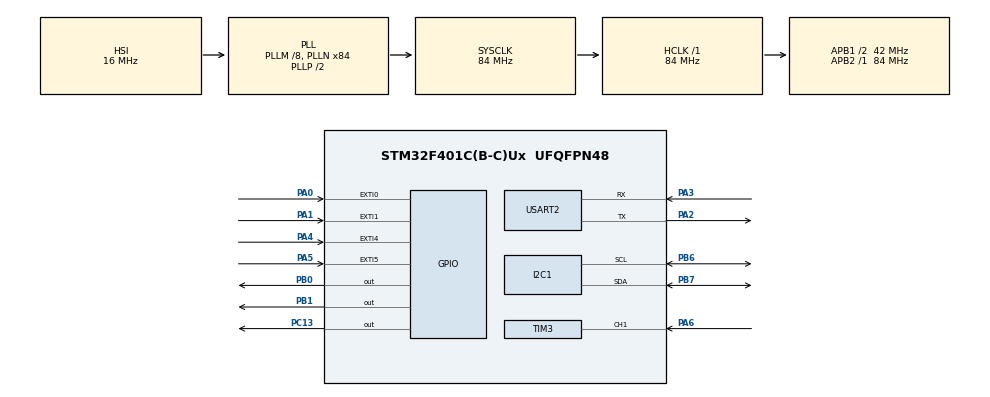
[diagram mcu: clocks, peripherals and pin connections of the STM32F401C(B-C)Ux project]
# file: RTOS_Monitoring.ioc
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FREERTOS.Mutexes01=I2CMutex,Dynamic,NULL,Available
FREERTOS.Tasks01=TaskDisplay,16,512,StartDefaultTask,Default,NULL,Dynamic,NULL,NULL;TaskSensor,40,512,StartTask02,Default,NULL,Dynamic,NULL,NULL
FREERTOS.configMINIMAL_STACK_SIZE=512
I2C1.I2C_Mode=I2C_Standard
Mcu.Family=STM32F4
Mcu.Name=STM32F401C(B-C)Ux
Mcu.Package=UFQFPN48
NVIC.EXTI0_IRQn=true\:5\:0\:false\:false\:true\:true\:true\:true\:true
NVIC.EXTI1_IRQn=true\:5\:0\:false\:false\:true\:true\:true\:true\:true
NVIC.EXTI4_IRQn=true\:5\:0\:false\:false\:true\:true\:true\:true\:true
NVIC.EXTI9_5_IRQn=true\:5\:0\:false\:false\:true\:true\:true\:true\:true
NVIC.PriorityGroup=NVIC_PRIORITYGROUP_4
NVIC.TIM1_UP_TIM10_IRQn=true\:15\:0\:false\:false\:true\:false\:false\:true\:true
NVIC.TimeBase=TIM1_UP_TIM10_IRQn
NVIC.TimeBaseIP=TIM1
PA0-WKUP.GPIO_PuPd=GPIO_PULLUP
PA0-WKUP.Signal=GPXTI0
PA1.GPIO_PuPd=GPIO_PULLUP
PA1.Signal=GPXTI1
PA13.Mode=Serial_Wire
PA13.Signal=SYS_JTMS-SWDIO
PA14.Mode=Serial_Wire
PA14.Signal=SYS_JTCK-SWCLK
PA2.Mode=Asynchronous
PA2.Signal=USART2_TX
PA3.Mode=Asynchronous
PA3.Signal=USART2_RX
PA4.GPIO_PuPd=GPIO_PULLUP
PA4.Signal=GPXTI4
PA5.GPIO_PuPd=GPIO_PULLUP
PA5.Signal=GPXTI5
PA6.Signal=S_TIM3_CH1
PB0.Signal=GPIO_Output
PB1.Signal=GPIO_Output
PB6.Mode=I2C
PB6.Signal=I2C1_SCL
PB7.Mode=I2C
PB7.Signal=I2C1_SDA
PC13-ANTI_TAMP.Signal=GPIO_Output
PH0\ -\ OSC_IN.Mode=HSE-External-Oscillator
PH0\ -\ OSC_IN.Signal=RCC_OSC_IN
PH1\ -\ OSC_OUT.Mode=HSE-External-Oscillator
PH1\ -\ OSC_OUT.Signal=RCC_OSC_OUT
ProjectManager.HeapSize=0x200
ProjectManager.StackSize=0x400
ProjectManager.TargetToolchain=STM32CubeIDE
RCC.48MHZClocksFreq_Value=42000000
RCC.AHBFreq_Value=84000000
RCC.APB1CLKDivider=RCC_HCLK_DIV2
RCC.APB1Freq_Value=42000000
RCC.APB1TimFreq_Value=84000000
RCC.APB2Freq_Value=84000000
RCC.APB2TimFreq_Value=84000000
RCC.CortexFreq_Value=84000000
RCC.HCLKFreq_Value=84000000
RCC.HSE_VALUE=25000000
RCC.HSI_VALUE=16000000
RCC.LSE_VALUE=32768
RCC.PLLM=8
RCC.PLLN=84
RCC.SYSCLKFreq_VALUE=84000000
RCC.SYSCLKSource=RCC_SYSCLKSOURCE_PLLCLK
RCC.VCOOutputFreq_Value=168000000
SH.S_TIM3_CH1.0=TIM3_CH1,Input_Capture1_from_TI1
TIM3.Channel-Input_Capture1_from_TI1=TIM_CHANNEL_1
USART2.VirtualMode=VM_ASYNC
VP_FREERTOS_VS_CMSIS_V2.Mode=CMSIS_V2
VP_SYS_VS_tim1.Mode=TIM1
board=custom

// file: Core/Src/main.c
/* USER CODE BEGIN Header */
/**
  ******************************************************************************
  * @file           : main.c
  * @brief          : Main program body
  ******************************************************************************
  * @attention
  *
  * Copyright (c) 2026 STMicroelectronics.
  * All rights reserved.
  *
  * This software is licensed under terms that can be found in the LICENSE file
  * in the root directory of this software component.
  * If no LICENSE file comes with this software, it is provided AS-IS.
  *
  ******************************************************************************
  */
/* USER CODE END Header */
#include "main.h"
#include "cmsis_os.h"
#include "i2c.h"
#include "tim.h"
#include "usart.h"
#include "gpio.h"

void SystemClock_Config(void);
void MX_FREERTOS_Init(void);

int main(void)
{

  /* MCU Configuration--------------------------------------------------------*/

  /* Reset of all peripherals, Initializes the Flash interface and the Systick. */
  HAL_Init();

  /* Configure the system clock */
  SystemClock_Config();

  /* Initialize all configured peripherals */
  MX_GPIO_Init();
  MX_I2C1_Init();
  MX_TIM3_Init();
  MX_USART2_UART_Init();

  /* Init scheduler */
  osKernelInitialize();  /* Call init function for freertos objects (in cmsis_os2.c) */
  MX_FREERTOS_Init();

  /* Start scheduler */
  osKernelStart();

  /* We should never get here as control is now taken by the scheduler */

  /* Infinite loop */
  /* USER CODE BEGIN WHILE */
  while (1)
  {
	  GPIO_TypeDef* ports[] = {GPIOC, GPIOB, GPIOA};
	  uint16_t pins[] = {GPIO_PIN_13, GPIO_PIN_12, GPIO_PIN_1};
	  for(int i=0; i<3; i++) {
	  	HAL_GPIO_WritePin(ports[i], pins[i], GPIO_PIN_RESET); // AN
	  	HAL_Delay(200);
	  	HAL_GPIO_WritePin(ports[i], pins[i], GPIO_PIN_SET); // AUS
	  }
    /* USER CODE END WHILE */

  }
}

void SystemClock_Config(void)
{
  RCC_OscInitTypeDef RCC_OscInitStruct = {0};
  RCC_ClkInitTypeDef RCC_ClkInitStruct = {0};

  /** Configure the main internal regulator output voltage
  */
  __HAL_RCC_PWR_CLK_ENABLE();
  __HAL_PWR_VOLTAGESCALING_CONFIG(PWR_REGULATOR_VOLTAGE_SCALE2);

  /** Initializes the RCC Oscillators according to the specified parameters
  * in the RCC_OscInitTypeDef structure.
  */
  RCC_OscInitStruct.OscillatorType = RCC_OSCILLATORTYPE_HSI;
  RCC_OscInitStruct.HSIState = RCC_HSI_ON;
  RCC_OscInitStruct.HSICalibrationValue = RCC_HSICALIBRATION_DEFAULT;
  RCC_OscInitStruct.PLL.PLLState = RCC_PLL_ON;
  RCC_OscInitStruct.PLL.PLLSource = RCC_PLLSOURCE_HSI;
  RCC_OscInitStruct.PLL.PLLM = 8;
  RCC_OscInitStruct.PLL.PLLN = 84;
  RCC_OscInitStruct.PLL.PLLP = RCC_PLLP_DIV2;
  RCC_OscInitStruct.PLL.PLLQ = 4;
  if (HAL_RCC_OscConfig(&RCC_OscInitStruct) != HAL_OK)
  {
    Error_Handler();
  }

  /** Initializes the CPU, AHB and APB buses clocks
  */
  RCC_ClkInitStruct.ClockType = RCC_CLOCKTYPE_HCLK|RCC_CLOCKTYPE_SYSCLK
                              |RCC_CLOCKTYPE_PCLK1|RCC_CLOCKTYPE_PCLK2;
  RCC_ClkInitStruct.SYSCLKSource = RCC_SYSCLKSOURCE_PLLCLK;
  RCC_ClkInitStruct.AHBCLKDivider = RCC_SYSCLK_DIV1;
  RCC_ClkInitStruct.APB1CLKDivider = RCC_HCLK_DIV2;
  RCC_ClkInitStruct.APB2CLKDivider = RCC_HCLK_DIV1;

  if (HAL_RCC_ClockConfig(&RCC_ClkInitStruct, FLASH_LATENCY_2) != HAL_OK)
  {
    Error_Handler();
  }
}

void HAL_TIM_PeriodElapsedCallback(TIM_HandleTypeDef *htim)
{
  if (htim->Instance == TIM1)
  {
    HAL_IncTick();
  }
}

void Error_Handler(void)
{
  __disable_irq();
  while (1)
  {
  }
}

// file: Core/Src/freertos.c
/* USER CODE BEGIN Header */
/**
  ******************************************************************************
  * File Name          : freertos.c
  * Description        : Code for freertos applications
  ******************************************************************************
  * @attention
  *
  * Copyright (c) 2026 STMicroelectronics.
  * All rights reserved.
  *
  * This software is licensed under terms that can be found in the LICENSE file
  * in the root directory of this software component.
  * If no LICENSE file comes with this software, it is provided AS-IS.
  *
  ******************************************************************************
  */
/* USER CODE END Header */

#include "FreeRTOS.h"
#include "task.h"
#include "main.h"
#include "cmsis_os.h"

/* USER CODE BEGIN Includes */
#include "i2c.h"
#include "ssd1306.h"
#include "ssd1306_fonts.h"
#include <stdio.h>
#include "bme280.h"
#include <stdlib.h>
#include "settings.h"
#include "flash_mem.h"
/* USER CODE END Includes */

/* USER CODE BEGIN Variables */

typedef struct {
	float temp;
	float hum;
	uint16_t press_hpa;
	int16_t accelX;
	int16_t accelY;
	int16_t accelZ;
	uint8_t alarm_active; // 0 = Alles OK, 1 = ALARM!
}SensorData_t;

typedef struct {
	uint32_t last_activity_tick;// Für 10s Timeout
	float temp_alarm_limit; // z. B. 30.0 °C
	uint16_t vib_alarm_limit; // z. B. 5000 LSB
	uint8_t mpu_range_g[4]; // 2, 4 oder 8
	uint8_t mpu_range_index;
	uint8_t menu_cursor; // Aktuell gewählter Menüpunkt (0 bis MENU_ITEM_COUNT-1)
	uint8_t current_page;
	uint8_t flag;
	UIState_t ui_state;
}SystemData_t;

typedef struct {
	uint16_t magic_key;
	SystemData_t data;
}EEPROM_Layout_t;

SensorData_t g_sensor_data;
SystemData_t g_system_data;

uint8_t vibration_history[128]= {0};
uint8_t history_index= 0;

/* USER CODE END Variables */
/* Definitions for TaskDisplay */
osThreadId_t TaskDisplayHandle;
const osThreadAttr_t TaskDisplay_attributes = {
  .name = "TaskDisplay",
  .stack_size = 512 * 4,
  .priority = (osPriority_t) osPriorityBelowNormal,
};
/* Definitions for TaskSensor */
osThreadId_t TaskSensorHandle;
const osThreadAttr_t TaskSensor_attributes = {
  .name = "TaskSensor",
  .stack_size = 512 * 4,
  .priority = (osPriority_t) osPriorityHigh,
};
/* Definitions for I2CMutex */
osMutexId_t I2CMutexHandle;
const osMutexAttr_t I2CMutex_attributes = {
  .name = "I2CMutex"
};

/* USER CODE BEGIN FunctionPrototypes */

void MPU6050_SetFullScaleRange(uint8_t mpu_range_g){
	uint8_t range_addr;
	if(mpu_range_g== 2) range_addr= 0x00;
	if(mpu_range_g== 4) range_addr= 0x08;
	if(mpu_range_g== 8) range_addr= 0x10;
	if(mpu_range_g== 16) range_addr= 0x18;
	HAL_I2C_Mem_Write(&hi2c1, (0x68 << 1), 0x1C, I2C_MEMADD_SIZE_8BIT, &range_addr, 1, 100);
}

void HAL_GPIO_EXTI_Callback(uint16_t GPIO_Pin)
{
	uint32_t now = HAL_GetTick();
	static uint32_t last_press = 0;

	if (now - last_press < 200) return;
	last_press = now;

	// Aktivität registrieren (Timer zurücksetzen)
	g_system_data.last_activity_tick = now;

	// === TASTE 1 (Menü öffnen / Runter) ===
	if (GPIO_Pin == GPIO_PIN_0)
	{
	    if (g_system_data.ui_state == UI_STATE_MAIN_PAGES) {
	        // Aus der Hauptansicht ins Menü wechseln
	        g_system_data.ui_state = UI_STATE_MENU_MAIN;
	        g_system_data.menu_cursor = 0;
	    }
	    else if (g_system_data.ui_state == UI_STATE_MENU_MAIN) {
	        // Im Menü nach unten navigieren
	        g_system_data.menu_cursor = (g_system_data.menu_cursor + 1) % MENU_ITEM_COUNT;
	    }
	    else if (g_system_data.ui_state == UI_STATE_MENU_EDIT) {
	        // Wert verringern
	        if (g_system_data.menu_cursor == MENU_ITEM_TEMP_ALARM){
	        	if(g_system_data.temp_alarm_limit > 0.0f){
	        		g_system_data.temp_alarm_limit -= 1.0f;
	        	}
	        }
	        else if (g_system_data.menu_cursor == MENU_ITEM_VIB_ALARM){
	        	if(g_system_data.vib_alarm_limit > 500){
	        		g_system_data.vib_alarm_limit -= 500;
	        	}
	        	else{
	        		g_system_data.vib_alarm_limit = 3000;
	        	}
	        }
	        else if (g_system_data.menu_cursor == MENU_ITEM_MPU_RANGE){
	        	if(g_system_data.mpu_range_index > 0){
	        		g_system_data.mpu_range_index -= 1;
	        	}
	        	else{
	        		g_system_data.mpu_range_index = 3;
	        	}
	        }
	    }
	}

	// === TASTE 2 (Hoch) ===
	else if (GPIO_Pin == GPIO_PIN_1)
	{
	    if (g_system_data.ui_state == UI_STATE_MENU_MAIN) {
	        // Im Menü nach oben navigieren
	        if (g_system_data.menu_cursor == 0) g_system_data.menu_cursor = MENU_ITEM_COUNT - 1;
	        else g_system_data.menu_cursor--;
	    }
	    else if (g_system_data.ui_state == UI_STATE_MENU_EDIT) {
	        // Wert erhöhen
	        if (g_system_data.menu_cursor == MENU_ITEM_TEMP_ALARM){
	        	if(g_system_data.temp_alarm_limit <= 60.0f)
	        	g_system_data.temp_alarm_limit += 1.0f;
	        }
	        else if (g_system_data.menu_cursor == MENU_ITEM_VIB_ALARM){
	        	if(g_system_data.vib_alarm_limit < 3000){
	        		g_system_data.vib_alarm_limit += 500;
	        	}
	        	else{
	        		g_system_data.vib_alarm_limit = 500;
	        	}
	        }
	        else if (g_system_data.menu_cursor == MENU_ITEM_MPU_RANGE){
	        	if(g_system_data.mpu_range_index < 3){
	        		g_system_data.mpu_range_index += 1;
	        	}
	        	else{
	        		g_system_data.mpu_range_index = 0;
	        	}
	        }
	    }
	}

	   // === TASTE 3 (Auswählen / Bestätigen) ===
	 else if (GPIO_Pin == GPIO_PIN_4)
	 {
	     if (g_system_data.ui_state == UI_STATE_MENU_MAIN) {
	         if (g_system_data.menu_cursor == MENU_ITEM_EXIT) {
	        	 g_system_data.ui_state = UI_STATE_MAIN_PAGES;
	        	 g_system_data.menu_cursor= 0;
	        	 g_system_data.flag= 2;
	         } else {
	            g_system_data.ui_state = UI_STATE_MENU_EDIT; // Wert anpassen
	         }
	     }
	     else if (g_system_data.ui_state == UI_STATE_MENU_EDIT) {
	        // Bearbeiten abschließen und zurück ins Hauptmenü
	        g_system_data.ui_state = UI_STATE_MENU_MAIN;

	         // Falls MPU Range geändert wurde -> Register schreiben!
	         if (g_system_data.menu_cursor == MENU_ITEM_MPU_RANGE) {
	        	 g_system_data.flag = 1;
	         }
	     }
	  }

	else if (GPIO_Pin == GPIO_PIN_5){
		static uint32_t last_interrupt_time = 0;
		uint32_t current_time = HAL_GetTick();

		// Software-Entprellung: Reagiere nur, wenn der letzte Druck > 200 ms her ist
		if (current_time - last_interrupt_time > 200){
			// Weiterblättern: 0 -> 1 -> 2 -> 0 -> 1 ...
			g_system_data.current_page = (g_system_data.current_page + 1) % 3;

			last_interrupt_time = current_time;
		}
	}
}

void system_data_init(void) {

		g_system_data.ui_state= UI_STATE_MAIN_PAGES;
		g_system_data.current_page= 0;
		g_system_data.menu_cursor= 0;
		g_system_data.mpu_range_g[0]= 2;
		g_system_data.mpu_range_g[1]= 4;
		g_system_data.mpu_range_g[2]= 8;
		g_system_data.mpu_range_g[3]= 16;
		g_system_data.flag= 0;

		Settings_t settings;
		Settings_Load(&settings);
		if(settings.magic == SETTINGS_MAGIC){
			g_system_data.temp_alarm_limit = settings.temp_alarm_limit;
			g_system_data.vib_alarm_limit = settings.vib_alarm_limit;
			g_system_data.mpu_range_index = settings.mpu_range_index;
		}
		else{
			g_system_data.temp_alarm_limit = DEFAULT_TEMP_LIMIT;
			g_system_data.vib_alarm_limit = DEFAULT_VIB_LIMIT;
			g_system_data.mpu_range_index= 0;
		}

		g_system_data.last_activity_tick = HAL_GetTick();

}

void Draw_Menu_Page(void)
{
	char buf[32];

	ssd1306_SetCursor(0, 0);
	ssd1306_WriteString("--- SETTINGS ---", Font_7x10, White);

	//Scroll-Fenster berechnen
	uint8_t top_item= 0;
	if(g_system_data.menu_cursor >= 3){
		top_item= g_system_data.menu_cursor - 2; //Scrollt nach unten
	}

	//Die 3 sichtbaren Zeilen rendern
	for(uint8_t line= 0; line<3; line++){
		uint8_t item_idx = top_item + line;
		if(item_idx >= MENU_ITEM_COUNT) break; //Schutz vor Überlauf

		uint8_t y_pos= 16+ (line*16);
		char prefix = (g_system_data.menu_cursor== item_idx) ? '>' : ' ';

		switch(item_idx){
			case MENU_ITEM_TEMP_ALARM:
				snprintf(buf, sizeof(buf), "%cTemp Lim: %.0f C", prefix, g_system_data.temp_alarm_limit);
				break;

			case MENU_ITEM_VIB_ALARM:
				//snprintf(buf, sizeof(buf), "%cVib. Limit: %d", prefix, (int)g_system_data.vib_alarm_limit);
				uint16_t val = g_system_data.vib_alarm_limit;

				// Falls val aus irgendeinem Grund 0 ist, zur Sicherheit 2000 erzwingen zum Testen:
				if (val == 0) val = 2000;

				// Zerlegen in einzelne Ziffern (garantiert ohne sprintf-Fehler!)
				char d1 = '0' + ((val / 1000) % 10);
				char d2 = '0' + ((val / 100) % 10);
				char d3 = '0' + ((val / 10) % 10);
				char d4 = '0' + (val % 10);

				buf[0] = prefix;
				buf[1] = 'V';
				buf[2]= 'i';
				buf[3]= 'b';
				buf[4] = '.';
				buf[5] = 'L';
				buf[6] = 'i';
				buf[7] = 'm';
				buf[8] = 'i';
				buf[9] = 't';
				buf[10] = ':';
				buf[11] = ' ';
				buf[12] = d1;
				buf[13] = d2;
				buf[14] = d3;
				buf[15] = d4;
				buf[16] = '\0'; // String-Ende
				break;

			case MENU_ITEM_MPU_RANGE:
				snprintf(buf, sizeof(buf), "%cVib. Sens.: %dg", prefix, g_system_data.mpu_range_g[g_system_data.mpu_range_index]);
				break;

			case MENU_ITEM_EXIT:
				snprintf(buf, sizeof(buf), "%cSave & Exit", prefix);
				break;
		}

		ssd1306_SetCursor(0, y_pos);
		ssd1306_WriteString(buf, Font_7x10, White);

		// Wenn im EDIT-Modus: Blinkenden Hinweis anzeigen
		if (g_system_data.ui_state == UI_STATE_MENU_EDIT && g_system_data.menu_cursor == item_idx) {
		ssd1306_SetCursor(120, y_pos);
		ssd1306_WriteString("*", Font_7x10, White);
		}
	}
}

/* USER CODE END FunctionPrototypes */

void StartDefaultTask(void *argument);
void StartTask02(void *argument);

void MX_FREERTOS_Init(void); /* (MISRA C 2004 rule 8.1) */

void MX_FREERTOS_Init(void) {
  /* USER CODE BEGIN Init */

	system_data_init();

  /* USER CODE END Init */
  /* Create the mutex(es) */
  /* creation of I2CMutex */
  I2CMutexHandle = osMutexNew(&I2CMutex_attributes);

  /* Create the thread(s) */
  /* creation of TaskDisplay */
  TaskDisplayHandle = osThreadNew(StartDefaultTask, NULL, &TaskDisplay_attributes);

  /* creation of TaskSensor */
  TaskSensorHandle = osThreadNew(StartTask02, NULL, &TaskSensor_attributes);

}

void StartDefaultTask(void *argument)
{
  /* USER CODE BEGIN StartDefaultTask */
	osDelay(500);

	// OLED & BME280 Initialisierung
	if(osMutexAcquire(I2CMutexHandle, 100)==osOK){
		ssd1306_Init();
		osMutexRelease(I2CMutexHandle);
	}

	char buf[32];

	for(;;)
	{
		if(osMutexAcquire(I2CMutexHandle, 20)==osOK){
			// --- Display aktualisieren ---
			ssd1306_Fill(Black);

			// 1. Timeout-Prüfung (10 Sekunden = 10000 ms)
			if(g_system_data.ui_state != UI_STATE_MAIN_PAGES)
				{
					if((HAL_GetTick() - g_system_data.last_activity_tick) > 10000)
					{
						// Automatisch zurück zur Hauptseite
						g_system_data.ui_state = UI_STATE_MAIN_PAGES;
						g_system_data.menu_cursor= 0;
					}
				}

			if (g_system_data.ui_state == UI_STATE_MAIN_PAGES){
				if(g_system_data.current_page == 0){

					// === SEITE 1: BME280 ===
					ssd1306_SetCursor(0, 0);
					ssd1306_WriteString("--- BME280 ---", Font_7x10, White);

					sprintf(buf, "Temp:  %.1f C", (float)g_sensor_data.temp);
					ssd1306_SetCursor(0, 16);
					ssd1306_WriteString(buf, Font_7x10, White);

					sprintf(buf, "Hum:   %.1f %%", (float)g_sensor_data.hum);
					ssd1306_SetCursor(0, 32);
					ssd1306_WriteString(buf, Font_7x10, White);

					sprintf(buf, "Press: %u hPa", g_sensor_data.press_hpa);
					ssd1306_SetCursor(0, 48);
					ssd1306_WriteString(buf, Font_7x10, White);
				}
				else if(g_system_data.current_page == 1){
					// === SEITE 2: MPU6050 ===

					ssd1306_SetCursor(0, 0);
					ssd1306_WriteString("--- MPU6050 ---", Font_7x10, White);

					sprintf(buf, "X: %d mg", g_sensor_data.accelX);
					ssd1306_SetCursor(0, 16);
					ssd1306_WriteString(buf, Font_7x10, White);

					sprintf(buf, "Y: %d mg", g_sensor_data.accelY);
					ssd1306_SetCursor(0, 32);
					ssd1306_WriteString(buf, Font_7x10, White);

					sprintf(buf, "Z: %d mg", g_sensor_data.accelZ);
					ssd1306_SetCursor(0, 48);
					ssd1306_WriteString(buf, Font_7x10, White);
				}
				else if(g_system_data.current_page == 2) // Seite 3 (0, 1, 2)
				{
					ssd1306_SetCursor(0, 0);
					ssd1306_WriteString("--- VIBRATION ---", Font_7x10, White);

					// Den Graph aus dem Ringpuffer zeichnen
					for (int i = 0; i < 127; i++){
						// Wir lesen den Puffer ringförmig ab, damit der aktuelle Wert immer rechts ist
						uint8_t idx1 = (history_index + i) % 128;
						uint8_t idx2 = (history_index + i + 1) % 128;

						int y1 = 55 - vibration_history[idx1]; // 0 ist oben, 63 ist unten
						int y2 = 55 - vibration_history[idx2];

						// Zeichnet eine Linie zwischen den Messpunkten
						ssd1306_Line(i, y1, i + 1, y2, White);
					}
				}

				if(g_sensor_data.alarm_active){
					ssd1306_SetCursor(75, 0);
					ssd1306_WriteString("!ALARM!", Font_7x10, White);
				}
			}
			else if(g_system_data.ui_state == UI_STATE_MENU_MAIN || g_system_data.ui_state == UI_STATE_MENU_EDIT){
				Draw_Menu_Page();
			}

			if(ssd1306_UpdateScreen()!= HAL_OK){
				HAL_I2C_DeInit(&hi2c1);
				HAL_I2C_Init(&hi2c1);
			}
			osMutexRelease(I2CMutexHandle);
		}
		osDelay(100);// Display Refresh-Rate (10 FPS)
	  }

  /* USER CODE END StartDefaultTask */
}

/* USER CODE BEGIN Header_StartTask02 */
/**
* @brief Function implementing the TaskSensor thread.
* @param argument: Not used
* @retval None
*/

#define TEMP_MAX_ALARM	28.0f	// °C
#define ACCEL_MAX_ALARM	1500	// mg
/* USER CODE END Header_StartTask02 */
void StartTask02(void *argument)
{
  /* USER CODE BEGIN StartTask02 */
	// MPU6050 & BME280 einmalig initialisieren (Bus sperren)
	if (osMutexAcquire(I2CMutexHandle, 100) == osOK)
	{
		bme280_init(&hi2c1, 1, 1, 1, 3, 4, 0);
		uint8_t pwr_mgmt = 0x00;
		HAL_I2C_Mem_Write(&hi2c1, (0x68 << 1), 0x6B, I2C_MEMADD_SIZE_8BIT, &pwr_mgmt, 1, 100);
		osMutexRelease(I2CMutexHandle);
	}
  /* Infinite loop */
  for(;;)
  {
	  //Temporäre lokale Variablen für die Messung
		float t= 0, h= 0;
		uint16_t p= 0;
	  int16_t ax_mg= 0, ay_mg= 0, az_mg= 0;

	  // --- I2C-Bus für Sensorabfrage reservieren ---
	  if (osMutexAcquire(I2CMutexHandle, 50) == osOK)
	  {
		  // 1. BME280 Werte auslesen
		  if(bme280_read_data(&t, &h, &p)!= HAL_OK){
			  HAL_I2C_DeInit(&hi2c1);
			  HAL_I2C_Init(&hi2c1);
		  }

		  if(g_system_data.flag == 1){
			  MPU6050_SetFullScaleRange(g_system_data.mpu_range_g[g_system_data.mpu_range_index]);
			  g_system_data.flag= 0;
		  }
		  if(g_system_data.flag == 2){
		  	  Settings_t settings;
		  	  settings.magic= SETTINGS_MAGIC;
		  	  settings.temp_alarm_limit= g_system_data.temp_alarm_limit;
		  	  settings.vib_alarm_limit= g_system_data.vib_alarm_limit;
		  	  settings.mpu_range_index= g_system_data.mpu_range_index;
		  	  Settings_Save(&settings);
		  	  g_system_data.flag= 0;
		  }

	  	  // 2. MPU6050 Werte auslesen
	  	  uint8_t Rec_Data[6];
	  	  HAL_I2C_Mem_Read(&hi2c1, (0x68 << 1), 0x3B, I2C_MEMADD_SIZE_8BIT, Rec_Data, 6, 100);

	  	  int16_t ax = (int16_t)(Rec_Data[0] << 8 | Rec_Data[1]);
	  	  int16_t ay = (int16_t)(Rec_Data[2] << 8 | Rec_Data[3]);
	  	  int16_t az = (int16_t)(Rec_Data[4] << 8 | Rec_Data[5]);

	  	  ax_mg= (int16_t)((int32_t)ax * 1000 / 16384);
	  	  ay_mg= (int16_t)((int32_t)ay * 1000 / 16384);
	  	  az_mg= (int16_t)((int32_t)az * 1000 / 16384);

	  	  osMutexRelease(I2CMutexHandle); // Bus sofort wieder freigeben

	  }

	  int32_t vibration_val= abs(az_mg);
	  uint8_t mapped_val= (vibration_val*60)/4000; // 16384 -> Skalierung für +-2g
	  if(mapped_val > 60) mapped_val= 60;

	  uint8_t is_alarm= 0;
	  if(t> g_system_data.temp_alarm_limit || abs(ax_mg) > g_system_data.vib_alarm_limit || abs(ay_mg) > g_system_data.vib_alarm_limit){
		  is_alarm= 1;
	  }

	  if (osMutexAcquire(I2CMutexHandle, 50) == osOK){

	  	  // 3. Globale Struktur thread-sicher aktualisieren
	  	  g_sensor_data.temp = t;
	  	  g_sensor_data.hum = h;
	  	  g_sensor_data.press_hpa = p;
	  	  g_sensor_data.accelX = ax_mg;
	  	  g_sensor_data.accelY = ay_mg;
	  	  g_sensor_data.accelZ = az_mg;
	  	  vibration_history[history_index]= mapped_val;
	  	  history_index= (history_index+1) % 128;
	  	  g_sensor_data.alarm_active = is_alarm;
	  	  osMutexRelease(I2CMutexHandle); // Bus sofort wieder freigeben
	  }

	  if(is_alarm){
		  HAL_GPIO_WritePin(GPIOB, GPIO_PIN_0, GPIO_PIN_SET);
	  }
	  else{
		  HAL_GPIO_WritePin(GPIOB, GPIO_PIN_0, GPIO_PIN_RESET);
	  }

	  osDelay(100); //10 Hz Messrate

  }
  /* USER CODE END StartTask02 */
}
